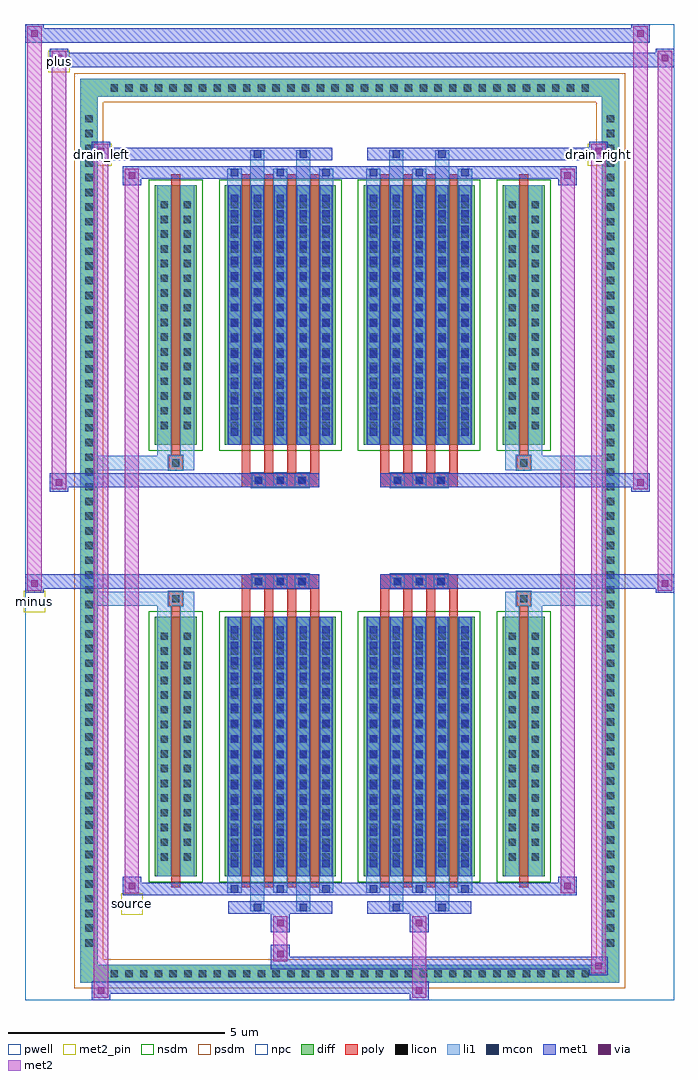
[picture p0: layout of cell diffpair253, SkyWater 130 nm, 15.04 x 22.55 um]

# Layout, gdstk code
import gdstk
lib = gdstk.Library(unit=1e-6, precision=5e-09)
def R(c, l, rs):  # rectangles x0, y0, x1, y1
    for r in rs: c.add(gdstk.rectangle(r[:2], r[2:], *l))
def A(c, l, x, y, w, h, nx, ny, dx, dy):  # array of equal rectangles
    R(c, l, [(x+i*dx, y+j*dy, x+i*dx+w, y+j*dy+h) for i in range(nx) for j in range(ny)])
def P(c, l, *ps):  # polygons
    for p in ps: c.add(gdstk.Polygon(p, *l))
pwell = (64, 44)
diff = (65, 20)
poly = (66, 20)
licon = (66, 44)
li1 = (67, 20)
mcon = (67, 44)
met1 = (68, 20)
via = (68, 44)
met2_pin = (69, 16)
met2 = (69, 20)
nsdm = (93, 44)
psdm = (94, 20)
npc = (95, 20)

diffpair253 = lib.new_cell('diffpair253')
R(diffpair253, pwell, [(-7.5,-10.84,7.5,11.71), (-4.82,-9.03,-0.01,-0.805), (0.01,-9.03,4.82,-0.805), (-4.82,0.805,-0.01,9.03), (0.01,0.805,4.82,9.03)])
A(diffpair253, diff, -5.645, -10.44, 0.41, 0.41, 33, 2, 0.34, 20.47)
A(diffpair253, diff, -6.23, -9.725, 0.41, 0.41, 1, 57, 0, 0.34)
A(diffpair253, diff, 5.82, -9.725, 0.41, 0.41, 1, 57, 0, 0.34)
R(diffpair253, diff, [(-5.645,-10.44,5.645,-10.03), (-6.23,-9.725,-5.82,9.725), (5.82,-9.725,6.23,9.725), (-4.51,-7.985,-3.53,-1.985), (-2.89,-7.985,-0.32,-1.985), (0.32,-7.985,2.89,-1.985), (3.53,-7.985,4.51,-1.985), (-4.51,1.985,-3.53,7.985), (-2.89,1.985,-0.32,7.985), (0.32,1.985,2.89,7.985), (3.53,1.985,4.51,7.985), (-5.645,10.03,5.645,10.44)])
P(diffpair253, diff, [(6.23,10.44),(-6.23,10.44),(-6.23,-10.03),(-5.82,-10.03),(-5.82,10.03),(5.82,10.03),(5.82,-10.03),(-5.82,-10.03),(-6.23,-10.03),(-6.23,-10.44),(6.23,-10.44)])
A(diffpair253, poly, -2.5, -8.235, 0.2, 6.5, 4, 2, 0.53, 9.97)
A(diffpair253, poly, 0.71, -8.235, 0.2, 6.5, 4, 2, 0.53, 9.97)
A(diffpair253, poly, -2.5, -1.735, 0.2, 0.4, 4, 2, 0.53, 3.07)
A(diffpair253, poly, 0.71, -1.735, 0.2, 0.4, 4, 2, 0.53, 3.07)
A(diffpair253, poly, -2.27, -1.335, 0.33, 0.33, 3, 2, 0.5, 2.34)
A(diffpair253, poly, 0.94, -1.335, 0.33, 0.33, 3, 2, 0.5, 2.34)
R(diffpair253, poly, [(-4.12,-8.235,-3.92,-1.735), (3.92,-8.235,4.12,-1.735), (-4.185,-1.735,-3.855,-1.405), (-4.185,-1.735,-3.855,-1.405), (3.855,-1.735,4.185,-1.405), (3.855,-1.735,4.185,-1.405), (-2.5,-1.335,-0.71,-1.005), (0.71,-1.335,2.5,-1.005), (-2.5,1.005,-0.71,1.335), (0.71,1.005,2.5,1.335), (-4.185,1.405,-3.855,1.735), (-4.185,1.405,-3.855,1.735), (3.855,1.405,4.185,1.735), (3.855,1.405,4.185,1.735), (-4.12,1.735,-3.92,8.235), (3.92,1.735,4.12,8.235)])
A(diffpair253, licon, -5.525, -10.32, 0.17, 0.17, 33, 2, 0.34, 20.47)
A(diffpair253, licon, -6.11, -9.605, 0.17, 0.17, 1, 57, 0, 0.34)
A(diffpair253, licon, 5.94, -9.605, 0.17, 0.17, 1, 57, 0, 0.34)
A(diffpair253, licon, -4.37, -7.62, 0.17, 0.17, 1, 16, 0, 0.34)
A(diffpair253, licon, -3.84, -7.62, 0.17, 0.17, 1, 16, 0, 0.34)
A(diffpair253, licon, -2.75, -7.62, 0.17, 0.17, 5, 16, 0.53, 0.34)
A(diffpair253, licon, 0.46, -7.62, 0.17, 0.17, 5, 16, 0.53, 0.34)
A(diffpair253, licon, 3.67, -7.62, 0.17, 0.17, 1, 16, 0, 0.34)
A(diffpair253, licon, 4.2, -7.62, 0.17, 0.17, 1, 16, 0, 0.34)
A(diffpair253, licon, -2.19, -1.255, 0.17, 0.17, 3, 2, 0.5, 2.34)
A(diffpair253, licon, 1.02, -1.255, 0.17, 0.17, 3, 2, 0.5, 2.34)
A(diffpair253, licon, -4.37, 2.35, 0.17, 0.17, 1, 16, 0, 0.34)
A(diffpair253, licon, -3.84, 2.35, 0.17, 0.17, 1, 16, 0, 0.34)
A(diffpair253, licon, -2.75, 2.35, 0.17, 0.17, 5, 16, 0.53, 0.34)
A(diffpair253, licon, 0.46, 2.35, 0.17, 0.17, 5, 16, 0.53, 0.34)
A(diffpair253, licon, 3.67, 2.35, 0.17, 0.17, 1, 16, 0, 0.34)
A(diffpair253, licon, 4.2, 2.35, 0.17, 0.17, 1, 16, 0, 0.34)
R(diffpair253, licon, [(-4.105,-1.655,-3.935,-1.485), (3.935,-1.655,4.105,-1.485), (-4.105,1.485,-3.935,1.655), (3.935,1.485,4.105,1.655)])
A(diffpair253, li1, -5.605, -10.4, 0.33, 0.33, 33, 2, 0.34, 20.47)
A(diffpair253, li1, -6.19, -9.685, 0.33, 0.33, 1, 57, 0, 0.34)
A(diffpair253, li1, 5.86, -9.685, 0.33, 0.33, 1, 57, 0, 0.34)
A(diffpair253, li1, -2.83, -8.36, 0.33, 0.375, 3, 2, 1.06, 16.345)
A(diffpair253, li1, -2.75, -8.36, 0.17, 0.17, 3, 2, 1.06, 16.55)
A(diffpair253, li1, 0.38, -8.36, 0.33, 0.375, 3, 2, 1.06, 16.345)
A(diffpair253, li1, 0.46, -8.36, 0.17, 0.17, 3, 2, 1.06, 16.55)
A(diffpair253, li1, -2.83, -7.985, 0.33, 6, 5, 2, 0.53, 9.97)
A(diffpair253, li1, 0.38, -7.985, 0.33, 6, 5, 2, 0.53, 9.97)
A(diffpair253, li1, -2.75, -7.77, 0.17, 0.17, 5, 16, 0.53, 0.36)
A(diffpair253, li1, -2.75, -7.77, 0.17, 5.57, 5, 2, 0.53, 9.97)
A(diffpair253, li1, 0.46, -7.77, 0.17, 0.17, 5, 16, 0.53, 0.36)
A(diffpair253, li1, 0.46, -7.77, 0.17, 5.57, 5, 2, 0.53, 9.97)
A(diffpair253, li1, -4.45, -7.7, 0.33, 0.33, 1, 16, 0, 0.34)
A(diffpair253, li1, -3.92, -7.7, 0.33, 0.33, 1, 16, 0, 0.34)
A(diffpair253, li1, -2.83, -7.7, 0.33, 0.33, 5, 16, 0.53, 0.34)
A(diffpair253, li1, 0.38, -7.7, 0.33, 0.33, 5, 16, 0.53, 0.34)
A(diffpair253, li1, 3.59, -7.7, 0.33, 0.33, 1, 16, 0, 0.34)
A(diffpair253, li1, 4.12, -7.7, 0.33, 0.33, 1, 16, 0, 0.34)
A(diffpair253, li1, -2.27, -1.335, 0.33, 0.33, 3, 2, 0.5, 2.34)
A(diffpair253, li1, 0.94, -1.335, 0.33, 0.33, 3, 2, 0.5, 2.34)
A(diffpair253, li1, -2.75, 2.2, 0.17, 0.17, 5, 16, 0.53, 0.36)
A(diffpair253, li1, 0.46, 2.2, 0.17, 0.17, 5, 16, 0.53, 0.36)
A(diffpair253, li1, -4.45, 2.27, 0.33, 0.33, 1, 16, 0, 0.34)
A(diffpair253, li1, -3.92, 2.27, 0.33, 0.33, 1, 16, 0, 0.34)
A(diffpair253, li1, -2.83, 2.27, 0.33, 0.33, 5, 16, 0.53, 0.34)
A(diffpair253, li1, 0.38, 2.27, 0.33, 0.33, 5, 16, 0.53, 0.34)
A(diffpair253, li1, 3.59, 2.27, 0.33, 0.33, 1, 16, 0, 0.34)
A(diffpair253, li1, 4.12, 2.27, 0.33, 0.33, 1, 16, 0, 0.34)
R(diffpair253, li1, [(-6.23,-10.44,-5.82,-10.03), (-6.23,-10.44,-5.82,-10.03), (-5.82,-10.44,5.82,-10.03), (5.82,-10.44,6.23,-10.03), (5.82,-10.44,6.23,-10.03), (-6.23,-10.03,-5.82,10.03), (5.82,-10.03,6.23,10.03), (-2.3,-8.79,-1.97,-7.985), (-2.22,-8.79,-2.05,-8.62), (-1.24,-8.79,-0.91,-7.985), (-1.16,-8.79,-0.99,-8.62), (0.91,-8.79,1.24,-7.985), (0.99,-8.79,1.16,-8.62), (1.97,-8.79,2.3,-7.985), (2.05,-8.79,2.22,-8.62), (-4.45,-7.985,-4.12,-1.985), (-3.92,-7.985,-3.59,-1.985), (3.59,-7.985,3.92,-1.985), (4.12,-7.985,4.45,-1.985), (-4.45,-1.985,-4.12,-1.405), (-3.92,-1.985,-3.59,-1.405), (3.59,-1.985,3.92,-1.405), (4.12,-1.985,4.45,-1.405), (-6.23,-1.735,-4.185,-1.405), (-4.45,-1.735,-4.185,-1.405), (-4.185,-1.735,-3.855,-1.405), (-3.855,-1.735,-3.59,-1.405), (3.59,-1.735,3.855,-1.405), (3.855,-1.735,4.185,-1.405), (3.855,-1.735,6.23,-1.405), (4.185,-1.735,4.45,-1.405), (-6.23,1.405,-4.185,1.735), (-4.45,1.405,-4.185,1.735), (-4.45,1.405,-4.12,1.985), (-4.185,1.405,-3.855,1.735), (-3.92,1.405,-3.59,1.985), (-3.855,1.405,-3.59,1.735), (3.59,1.405,3.855,1.735), (3.59,1.405,3.92,1.985), (3.855,1.405,4.185,1.735), (3.855,1.405,6.23,1.735), (4.12,1.405,4.45,1.985), (4.185,1.405,4.45,1.735), (-4.45,1.985,-4.12,7.985), (-3.92,1.985,-3.59,7.985), (3.59,1.985,3.92,7.985), (4.12,1.985,4.45,7.985), (-2.3,7.985,-1.97,8.79), (-1.24,7.985,-0.91,8.79), (0.91,7.985,1.24,8.79), (1.97,7.985,2.3,8.79), (-2.22,8.62,-2.05,8.79), (-1.16,8.62,-0.99,8.79), (0.99,8.62,1.16,8.79), (2.05,8.62,2.22,8.79), (-6.23,10.03,-5.82,10.44), (-6.23,10.03,-5.82,10.44), (-5.82,10.03,5.82,10.44), (5.82,10.03,6.23,10.44), (5.82,10.03,6.23,10.44)])
A(diffpair253, mcon, -2.75, -8.36, 0.17, 0.17, 3, 2, 1.06, 16.55)
A(diffpair253, mcon, 0.46, -8.36, 0.17, 0.17, 3, 2, 1.06, 16.55)
A(diffpair253, mcon, -2.75, -7.77, 0.17, 0.17, 5, 16, 0.53, 0.36)
A(diffpair253, mcon, 0.46, -7.77, 0.17, 0.17, 5, 16, 0.53, 0.36)
A(diffpair253, mcon, -2.19, -1.255, 0.17, 0.17, 3, 2, 0.5, 2.34)
A(diffpair253, mcon, 1.02, -1.255, 0.17, 0.17, 3, 2, 0.5, 2.34)
A(diffpair253, mcon, -2.75, 2.2, 0.17, 0.17, 5, 16, 0.53, 0.36)
A(diffpair253, mcon, 0.46, 2.2, 0.17, 0.17, 5, 16, 0.53, 0.36)
R(diffpair253, mcon, [(-2.22,-8.79,-2.05,-8.62), (-1.16,-8.79,-0.99,-8.62), (0.99,-8.79,1.16,-8.62), (2.05,-8.79,2.22,-8.62), (-2.22,8.62,-2.05,8.79), (-1.16,8.62,-0.99,8.79), (0.99,8.62,1.16,8.79), (2.05,8.62,2.22,8.79)])
A(diffpair253, met1, -2.81, -8.42, 0.29, 0.29, 3, 2, 1.06, 16.55)
A(diffpair253, met1, 0.4, -8.42, 0.29, 0.29, 3, 2, 1.06, 16.55)
A(diffpair253, met1, -2.81, -7.985, 0.29, 6, 5, 2, 0.53, 9.97)
A(diffpair253, met1, 0.4, -7.985, 0.29, 6, 5, 2, 0.53, 9.97)
A(diffpair253, met1, -2.81, -7.83, 0.29, 0.29, 5, 16, 0.53, 0.36)
A(diffpair253, met1, 0.4, -7.83, 0.29, 0.29, 5, 16, 0.53, 0.36)
A(diffpair253, met1, -2.25, -1.315, 0.29, 0.29, 3, 2, 0.5, 2.34)
A(diffpair253, met1, 0.96, -1.315, 0.29, 0.29, 3, 2, 0.5, 2.34)
A(diffpair253, met1, -2.81, 2.14, 0.29, 0.29, 5, 16, 0.53, 0.36)
A(diffpair253, met1, 0.4, 2.14, 0.29, 0.29, 5, 16, 0.53, 0.36)
R(diffpair253, met1, [(-5.96,-10.84,-5.53,-10.41), (1.39,-10.84,1.82,-10.41), (-5.96,-10.7,1.82,-10.41), (5.53,-10.27,5.96,-9.84), (-1.82,-10.13,5.96,-9.84), (-1.82,-9.99,-1.39,-9.56), (-1.82,-9.28,-1.39,-8.85), (1.39,-9.28,1.82,-8.85), (-2.81,-8.85,-0.4,-8.56), (-2.28,-8.85,-1.99,-8.56), (-1.22,-8.85,-0.93,-8.56), (0.4,-8.85,2.81,-8.56), (0.93,-8.85,1.22,-8.56), (1.99,-8.85,2.28,-8.56), (-5.25,-8.42,-4.82,-7.99), (-5.25,-8.42,-2.81,-8.13), (-2.81,-8.42,-0.4,-8.13), (-0.4,-8.42,0.4,-8.13), (0.4,-8.42,2.81,-8.13), (2.81,-8.42,5.25,-8.13), (4.82,-8.42,5.25,-7.99), (-7.5,-1.435,-7.07,-1.005), (7.07,-1.435,7.5,-1.005), (-7.5,-1.335,-0.71,-1.005), (-2.5,-1.335,-0.71,-1.005), (0.71,-1.335,2.5,-1.005), (0.71,-1.335,7.5,-1.005), (-6.93,0.905,-6.5,1.335), (6.5,0.905,6.93,1.335), (-6.93,1.005,-2.5,1.335), (-2.5,1.005,-0.71,1.335), (0.71,1.005,2.5,1.335), (2.5,1.005,6.93,1.335), (-5.25,7.99,-4.82,8.42), (4.82,7.99,5.25,8.42), (-5.25,8.13,-2.81,8.42), (-2.81,8.13,-0.4,8.42), (-0.4,8.13,0.4,8.42), (0.4,8.13,2.81,8.42), (2.81,8.13,5.25,8.42), (-5.96,8.56,-5.53,8.99), (-5.96,8.56,-2.81,8.85), (-2.81,8.56,-0.4,8.85), (-2.28,8.56,-1.99,8.85), (-1.22,8.56,-0.93,8.85), (0.4,8.56,2.81,8.85), (0.93,8.56,1.22,8.85), (1.99,8.56,2.28,8.85), (2.81,8.56,5.96,8.85), (5.53,8.56,5.96,8.99), (-6.93,10.71,-6.5,11.14), (-6.93,10.71,-4.82,11.04), (-4.82,10.71,4.82,11.04), (4.82,10.71,7.5,11.04), (7.07,10.71,7.5,11.14), (-7.5,11.28,-7.07,11.71), (-7.5,11.28,-4.82,11.61), (-4.82,11.28,4.82,11.61), (4.82,11.28,6.93,11.61), (6.5,11.28,6.93,11.71)])
R(diffpair253, via, [(-5.82,-10.7,-5.67,-10.55), (1.53,-10.7,1.68,-10.55), (5.67,-10.13,5.82,-9.98), (-1.68,-9.85,-1.53,-9.7), (-1.68,-9.14,-1.53,-8.99), (1.53,-9.14,1.68,-8.99), (-5.11,-8.28,-4.96,-8.13), (4.96,-8.28,5.11,-8.13), (-7.36,-1.295,-7.21,-1.145), (7.21,-1.295,7.36,-1.145), (-6.79,1.045,-6.64,1.195), (6.64,1.045,6.79,1.195), (-5.11,8.13,-4.96,8.28), (4.96,8.13,5.11,8.28), (-5.82,8.7,-5.67,8.85), (5.67,8.7,5.82,8.85), (-6.79,10.85,-6.64,11), (7.21,10.85,7.36,11), (-7.36,11.42,-7.21,11.57), (6.64,11.42,6.79,11.57)])
R(diffpair253, met2_pin, [(-5.285,-8.87,-4.785,-8.37), (-7.535,-1.885,-7.035,-1.385), (-5.995,8.44,-5.495,8.94), (5.495,8.44,5.995,8.94), (-6.965,10.59,-6.465,11.09)])
R(diffpair253, met2, [(-5.91,-10.79,-5.58,-10.46), (-5.91,-10.79,-5.58,8.94), (1.44,-10.79,1.77,-10.46), (1.44,-10.46,1.77,-9.23), (5.58,-10.22,5.91,-9.89), (5.58,-10.22,5.91,8.94), (-1.77,-9.94,-1.44,-9.61), (-1.77,-9.61,-1.44,-9.23), (-1.77,-9.23,-1.44,-8.9), (1.44,-9.23,1.77,-8.9), (-5.2,-8.37,-4.87,-8.04), (-5.2,-8.37,-4.87,8.37), (4.87,-8.37,5.2,-8.04), (4.87,-8.37,5.2,8.37), (-7.45,-1.385,-7.12,-1.055), (-7.45,-1.385,-7.12,11.66), (7.12,-1.385,7.45,-1.055), (7.12,-1.385,7.45,11.09), (-6.88,0.955,-6.55,1.285), (-6.88,0.955,-6.55,11.09), (6.55,0.955,6.88,1.285), (6.55,0.955,6.88,11.66), (-5.2,8.04,-4.87,8.37), (4.87,8.04,5.2,8.37), (-5.91,8.61,-5.58,8.94), (5.58,8.61,5.91,8.94), (-6.88,10.76,-6.55,11.09), (7.12,10.76,7.45,11.09), (-7.45,11.33,-7.12,11.66), (6.55,11.33,6.88,11.66)])
P(diffpair253, met2, [(7.45,-1.385),(7.45,-1.385),(7.45,-1.055),(7.45,-1.055)],
  [(7.45,10.76),(7.45,10.76),(7.45,11.09),(7.45,11.09)],
  [(-7.12,-1.385),(-7.12,-1.385),(-7.12,-1.055),(-7.12,-1.055)],
  [(-7.12,11.33),(-7.12,11.33),(-7.12,11.66),(-7.12,11.66)],
  [(6.88,0.955),(6.88,0.955),(6.88,1.285),(6.88,1.285)],
  [(6.88,11.33),(6.88,11.33),(6.88,11.66),(6.88,11.66)],
  [(-6.55,0.955),(-6.55,0.955),(-6.55,1.285),(-6.55,1.285)],
  [(-6.55,10.76),(-6.55,10.76),(-6.55,11.09),(-6.55,11.09)],
  [(-5.58,-10.79),(-5.58,-10.79),(-5.58,-10.46),(-5.58,-10.46)],
  [(-5.58,8.61),(-5.58,8.61),(-5.58,8.94),(-5.58,8.94)],
  [(5.91,-10.22),(5.91,-10.22),(5.91,-9.89),(5.91,-9.89)],
  [(5.91,8.61),(5.91,8.61),(5.91,8.94),(5.91,8.94)],
  [(-4.87,-8.37),(-4.87,-8.37),(-4.87,-8.04),(-4.87,-8.04)],
  [(-4.87,8.04),(-4.87,8.04),(-4.87,8.37),(-4.87,8.37)],
  [(5.2,-8.37),(5.2,-8.37),(5.2,-8.04),(5.2,-8.04)],
  [(5.2,8.04),(5.2,8.04),(5.2,8.37),(5.2,8.37)])
R(diffpair253, nsdm, [(-4.64,-8.115,-3.4,-1.855), (-3.02,-8.115,-0.19,-1.855), (0.19,-8.115,3.02,-1.855), (3.4,-8.115,4.64,-1.855), (-4.64,1.855,-3.4,8.115), (-3.02,1.855,-0.19,8.115), (0.19,1.855,3.02,8.115), (3.4,1.855,4.64,8.115)])
P(diffpair253, psdm, [(6.36,10.57),(-6.36,10.57),(-6.36,-9.9),(-5.69,-9.9),(-5.69,9.9),(5.69,9.9),(5.69,-9.9),(-5.69,-9.9),(-6.36,-9.9),(-6.36,-10.57),(6.36,-10.57)])
A(diffpair253, npc, -2.29, -1.355, 0.37, 0.37, 3, 2, 0.5, 2.34)
A(diffpair253, npc, 0.92, -1.355, 0.37, 0.37, 3, 2, 0.5, 2.34)
R(diffpair253, npc, [(-4.205,-1.755,-3.835,-1.385), (3.835,-1.755,4.205,-1.385), (-2.29,-1.355,-1.42,-0.985), (-2.29,-1.355,-1.42,-0.985), (-1.79,-1.355,-0.92,-0.985), (-1.79,-1.355,-0.92,-0.985), (0.92,-1.355,1.79,-0.985), (0.92,-1.355,1.79,-0.985), (1.42,-1.355,2.29,-0.985), (1.42,-1.355,2.29,-0.985), (-2.29,0.985,-1.42,1.355), (-2.29,0.985,-1.42,1.355), (-1.79,0.985,-0.92,1.355), (-1.79,0.985,-0.92,1.355), (0.92,0.985,1.79,1.355), (0.92,0.985,1.79,1.355), (1.42,0.985,2.29,1.355), (1.42,0.985,2.29,1.355), (-4.205,1.385,-3.835,1.755), (3.835,1.385,4.205,1.755)])
diffpair253.add(gdstk.Label('minus', (-7.285,-1.635), layer=69, texttype=5))
diffpair253.add(gdstk.Label('drain_right', (5.745,8.69), layer=69, texttype=5))
diffpair253.add(gdstk.Label('drain_left', (-5.745,8.69), layer=69, texttype=5))
diffpair253.add(gdstk.Label('source', (-5.035,-8.62), layer=69, texttype=5))
diffpair253.add(gdstk.Label('plus', (-6.715,10.84), layer=69, texttype=5))

lib.write_gds('diffpair253.gds')
